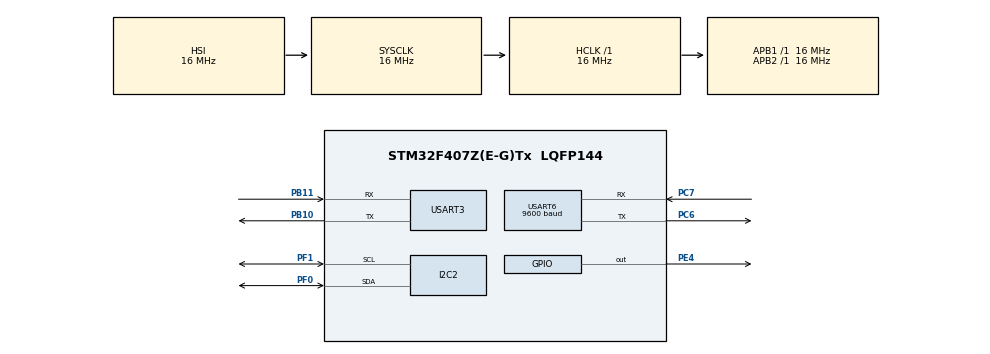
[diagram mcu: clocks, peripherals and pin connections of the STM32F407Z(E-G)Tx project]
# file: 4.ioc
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Mcu.Family=STM32F4
Mcu.Name=STM32F407Z(E-G)Tx
Mcu.Package=LQFP144
NVIC.I2C2_ER_IRQn=true\:0\:0\:false\:false\:true\:true\:true
NVIC.I2C2_EV_IRQn=true\:0\:0\:false\:false\:true\:true\:true
NVIC.PriorityGroup=NVIC_PRIORITYGROUP_2
NVIC.USART3_IRQn=true\:0\:0\:false\:false\:true\:true\:false
NVIC.USART6_IRQn=true\:0\:0\:false\:false\:true\:true\:false
PB10.Mode=Asynchronous
PB10.Signal=USART3_TX
PB11.Mode=Asynchronous
PB11.Signal=USART3_RX
PC6.Mode=Asynchronous
PC6.Signal=USART6_TX
PC7.Mode=Asynchronous
PC7.Signal=USART6_RX
PE4.GPIO_PuPd=GPIO_NOPULL
PE4.Signal=GPIO_Output
PF0.Mode=I2C
PF0.Signal=I2C2_SDA
PF1.Mode=I2C
PF1.Signal=I2C2_SCL
ProjectManager.HeapSize=0x200
ProjectManager.StackSize=0x400
ProjectManager.TargetToolchain=Makefile
RCC.AHBFreq_Value=16000000
RCC.APB1Freq_Value=16000000
RCC.APB2Freq_Value=16000000
RCC.CortexFreq_Value=16000000
RCC.HSE_VALUE=25000000
RCC.HSI_VALUE=16000000
RCC.LSE_VALUE=32768
RCC.SYSCLKFreq_VALUE=16000000
RCC.VCOOutputFreq_Value=192000000
USART3.VirtualMode=VM_ASYNC
USART6.BaudRate=9600
USART6.VirtualMode=VM_ASYNC
board=custom

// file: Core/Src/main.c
/* USER CODE BEGIN Header */
/**
  ******************************************************************************
  * @file           : main.c
  * @brief          : Main program body
  ******************************************************************************
  * @attention
  *
  * <h2><center>&copy; Copyright (c) 2020 STMicroelectronics.
  * All rights reserved.</center></h2>
  *
  * This software component is licensed by ST under BSD 3-Clause license,
  * the "License"; You may not use this file except in compliance with the
  * License. You may obtain a copy of the License at:
  *                        opensource.org/licenses/BSD-3-Clause
  *
  ******************************************************************************
  */
/* USER CODE END Header */
#include "main.h"
#include "i2c.h"
#include "usart.h"
#include "gpio.h"

/* USER CODE BEGIN Includes */
#include "los_sys.h"
#include "los_task.h"
#include "los_memory.h"
#include "at_device.h"
#include "app.h"
#include "connector.h"
#include "adxl345_test_task.h"
/* USER CODE END Includes */

void SystemClock_Config(void);

int main(void)
{
  /* USER CODE BEGIN 1 */
    UINT32 uwRet = LOS_OK;
  /* USER CODE END 1 */

  /* MCU Configuration--------------------------------------------------------*/

  /* Reset of all peripherals, Initializes the Flash interface and the Systick. */
  HAL_Init();

  /* Configure the system clock */
  SystemClock_Config();

  /* Initialize all configured peripherals */
  MX_GPIO_Init();
  MX_USART3_UART_Init();
  MX_USART6_UART_Init();
  MX_I2C2_Init();
  /* USER CODE BEGIN 2 */
  uwRet = LOS_KernelInit();
    if(uwRet != LOS_OK) {
        printf("LOS_KernelInit fail!\r\n");
    }
    at_device_init();

    printf("adxl345 init start..\r\n");
    while(ADXL345_Init()){
        printf("ADXL345 Error!\r\n");
        LOS_TaskDelay(200);
    }
    printf("ADXL345 OK!\r\n");

    Create_Task();

    //Create_bc35_UDP_Test_Task();
    //Create_BC35_Connectiontor_Task();
    Create_bc35_TCP_Test_Task();
    create_adxl345_receiver_task();

    LOS_Start();
  /* USER CODE END 2 */

  /* Infinite loop */
    while (1)
    {

    }
}

void SystemClock_Config(void)
{
  RCC_OscInitTypeDef RCC_OscInitStruct = {0};
  RCC_ClkInitTypeDef RCC_ClkInitStruct = {0};

  /** Configure the main internal regulator output voltage
  */
  __HAL_RCC_PWR_CLK_ENABLE();
  __HAL_PWR_VOLTAGESCALING_CONFIG(PWR_REGULATOR_VOLTAGE_SCALE1);
  /** Initializes the RCC Oscillators according to the specified parameters
  * in the RCC_OscInitTypeDef structure.
  */
  RCC_OscInitStruct.OscillatorType = RCC_OSCILLATORTYPE_HSI;
  RCC_OscInitStruct.HSIState = RCC_HSI_ON;
  RCC_OscInitStruct.HSICalibrationValue = RCC_HSICALIBRATION_DEFAULT;
  RCC_OscInitStruct.PLL.PLLState = RCC_PLL_NONE;
  if (HAL_RCC_OscConfig(&RCC_OscInitStruct) != HAL_OK)
  {
    Error_Handler();
  }
  /** Initializes the CPU, AHB and APB buses clocks
  */
  RCC_ClkInitStruct.ClockType = RCC_CLOCKTYPE_HCLK|RCC_CLOCKTYPE_SYSCLK
                              |RCC_CLOCKTYPE_PCLK1|RCC_CLOCKTYPE_PCLK2;
  RCC_ClkInitStruct.SYSCLKSource = RCC_SYSCLKSOURCE_HSI;
  RCC_ClkInitStruct.AHBCLKDivider = RCC_SYSCLK_DIV1;
  RCC_ClkInitStruct.APB1CLKDivider = RCC_HCLK_DIV1;
  RCC_ClkInitStruct.APB2CLKDivider = RCC_HCLK_DIV1;

  if (HAL_RCC_ClockConfig(&RCC_ClkInitStruct, FLASH_LATENCY_0) != HAL_OK)
  {
    Error_Handler();
  }
}

void Error_Handler(void)
{
}

/************************ (C) COPYRIGHT STMicroelectronics *****END OF FILE****/
